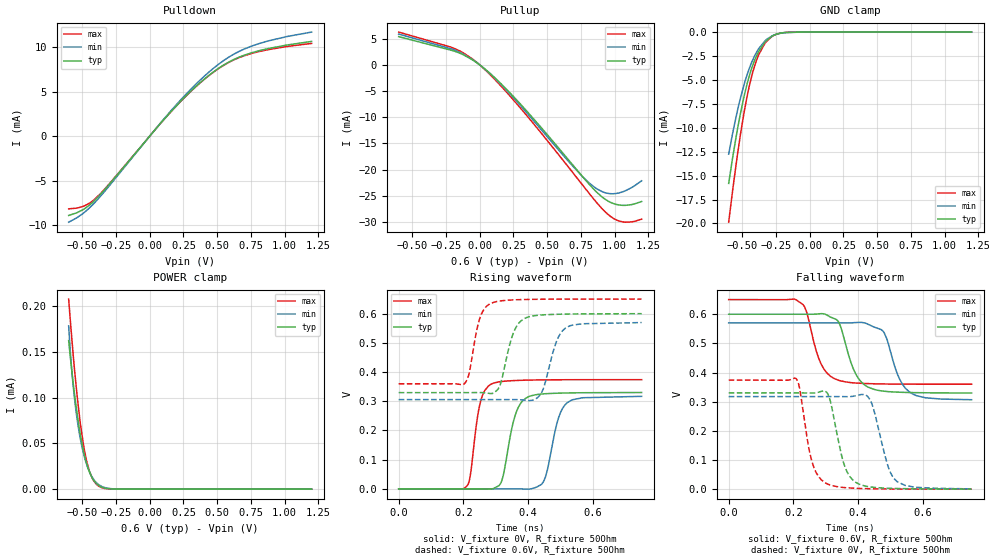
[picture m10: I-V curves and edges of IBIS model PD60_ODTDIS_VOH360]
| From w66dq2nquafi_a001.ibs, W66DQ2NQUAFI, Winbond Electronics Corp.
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[Model]   PD60_ODTDIS_VOH360
Model_type   I/O
Polarity   Non-Inverting
Enable   Active-Low
Vinl = 0.11
Vinh = 0.25
Vmeas = 0.18
Vref = 0
Cref = 0pF
|   typ   min   max
C_comp   1.15pF   1.05pF   1.25pF
[Voltage Range]   0.6   0.57   0.65
[Temperature Range]   25   95   -40
[Pullup Reference]   0.6   0.57   0.65
[Pulldown Reference]   0   0   0
[Power Clamp Reference]   0.6   0.57   0.65
[GND Clamp Reference]   0   0   0
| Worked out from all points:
|   slope of the pulldown table from 0 to 0.09 V, typ, clamps not added: 56.1 ohm
|   slope of the pullup table from 0 to 0.09 V, typ, clamps not added: 46.4 ohm
|   GND clamp passes 1 mA (typ) near -0.33 V on its own axis
|   falling waveform, V_fixture 0.6V, R_fixture 50Ohm: 20-80 % time 49.4ps typ, 49.3ps min, 46.6ps max; typ from 0.6 V to 0.33 V
|   rising waveform, V_fixture 0V, R_fixture 50Ohm: 20-80 % time 37.1ps typ, 38.2ps min, 28.2ps max; typ from 0 V to 0.33 V
|   rising waveform, V_fixture 0.6V, R_fixture 50Ohm: 20-80 % time 38.5ps typ, 40.9ps min, 31.6ps max; typ from 0.33 V to 0.6 V
|   falling waveform, V_fixture 0V, R_fixture 50Ohm: 20-80 % time 41.6ps typ, 44.5ps min, 37.4ps max; typ from 0.33 V to 0 V
[Pulldown]
|   Voltage   I(typ)   I(min)   I(max)
-600mV    -8.908mA   -9.665mA   -8.165mA
-486.9mV  -8.193mA   -8.6mA     -7.854mA
-446.6mV  -7.755mA   -8.067mA   -7.537mA
-399.9mV  -7.11mA    -7.352mA   -6.988mA
-300.6mV  -5.439mA   -5.607mA   -5.385mA
160.5mV   2.803mA    2.903mA    2.797mA
332.7mV   5.45mA     5.699mA    5.432mA
502.4mV   7.547mA    7.991mA    7.516mA
623.8mV   8.62mA     9.222mA    8.578mA
760.2mV   9.397mA    10.15mA    9.319mA
1.012V    10.23mA    11.18mA    10.07mA
1.2V      10.65mA    11.7mA     10.43mA
[GND Clamp]
|   Voltage   I(typ)   I(min)   I(max)
-600mV    -15.82mA   -12.76mA   -19.87mA
-566.8mV  -12.8mA    -10.32mA   -16.14mA
-537.6mV  -10.38mA   -8.381mA   -13.08mA
-513.5mV  -8.561mA   -6.943mA   -10.78mA
-486.6mV  -6.755mA   -5.522mA   -8.452mA
-447.2mV  -4.583mA   -3.809mA   -5.635mA
-423.6mV  -3.543mA   -2.975mA   -4.286mA
-378.3mV  -2.053mA   -1.738mA   -2.384mA
-331.6mV  -1.054mA   -934.4uA   -1.177mA
-278.2mV  -431.6uA   -397.6uA   -442.5uA
-172.5mV  -38.48uA   -45.26uA   -27.95uA
1.2V      0A         0A         0A
[Pullup]
|   Voltage   I(typ)   I(min)   I(max)
-600mV    5.379mA    5.87mA     6.249mA
-187.9mV  2.612mA    2.829mA    3.127mA
-120.6mV  1.917mA    2.04mA     2.271mA
-9.15mV   171.2uA    182.7uA    204.4uA
119.9mV   -2.654mA   -2.763mA   -3.005mA
277.2mV   -6.803mA   -7.057mA   -7.512mA
754.9mV   -21.12mA   -21.16mA   -22.71mA
871.7mV   -24.44mA   -23.74mA   -26.46mA
952.8mV   -26.05mA   -24.57mA   -28.62mA
1.027V    -26.75mA   -24.51mA   -29.78mA
1.123V    -26.72mA   -23.49mA   -30.01mA
1.2V      -26.11mA   -22.16mA   -29.49mA
[POWER Clamp]
|   Voltage   I(typ)   I(min)   I(max)
-600mV    162.4uA    178.3uA    207.7uA
-588.9mV  146.2uA    152.8uA    186.6uA
-577.2mV  129.9uA    130.1uA    165.1uA
-557.8mV  105.3uA    100.4uA    132.6uA
-531.6mV  76.38uA    70.56uA    94.42uA
-514.2mV  60.13uA    55.48uA    72.37uA
-486.9mV  39.47uA    37.23uA    45.28uA
-446.6mV  19.02uA    19.27uA    19.77uA
-423.2mV  11.73uA    12.57uA    11.33uA
-379mV    4.204uA    4.975uA    3.38uA
-248.3mV  62.4nA     168.9nA    0A
1.2V      0A         0A         0A
[Ramp]
R_load = 50
|   typ   min   max
dV/dt_r 1.9798E-01/3.6909E-11   1.9011E-01/3.8165E-11   2.2434E-01/2.8200E-11
dV/dt_f 1.6214E-01/4.9384E-11   1.5799E-01/4.9201E-11   1.7410E-01/4.6618E-11
[Falling Waveform]
V_fixture = 0.6V
V_fixture_min = 0.57V
V_fixture_max = 0.65V
R_fixture = 50Ohm
C_fixture = 0F
|   Time   V(typ)   V(min)   V(max)
0s        600mV      570mV      650mV
229ps     600mV      570mV      633.3mV
285ps     601.8mV    570mV      430.2mV
331ps     582.6mV    570mV      377mV
384ps     414.9mV    570.7mV    364.7mV
421ps     356.4mV    569.8mV    362.3mV
478ps     336.2mV    539.9mV    360.8mV
520ps     332.8mV    397.2mV    360.3mV
556ps     331.5mV    335.1mV    360.1mV
750ps     329.8mV    306.7mV    359.8mV
[Rising Waveform]
V_fixture = 0V
V_fixture_min = 0V
V_fixture_max = 0V
R_fixture = 50Ohm
C_fixture = 0F
|   Time   V(typ)   V(min)   V(max)
0s        5.397uV    17.78uV    1.065uV
211ps     3.899uV    17.78uV    9.963mV
251ps     44.58uV    17.89uV    291.1mV
286ps     -507.6uV   16.9uV     359mV
318ps     26.79mV    19.77uV    367.7mV
354ps     229.7mV    57.66uV    370.7mV
391ps     309.4mV    -621.1uV   372.2mV
447ps     325.3mV    24.42mV    373.2mV
520ps     328.4mV    294.9mV    373.7mV
750ps     330mV      316.9mV    373.9mV
[Rising Waveform]
V_fixture = 0.6V
V_fixture_min = 0.57V
V_fixture_max = 0.65V
R_fixture = 50Ohm
C_fixture = 0F
|   Time   V(typ)   V(min)   V(max)
0s        329.6mV    305.6mV    359.8mV
202ps     329.6mV    305.6mV    359.2mV
251ps     329.8mV    305.6mV    586mV
294ps     328.6mV    305.6mV    639.2mV
314ps     358.4mV    305.6mV    643.6mV
354ps     533.5mV    305.7mV    647.2mV
391ps     584.8mV    303.5mV    648.6mV
442ps     595.6mV    331.4mV    649.4mV
514ps     598.5mV    549.8mV    649.8mV
750ps     599.9mV    569.5mV    650mV
[Falling Waveform]
|Gnd
V_fixture = 0V
V_fixture_min = 0V
V_fixture_max = 0V
R_fixture = 50Ohm
C_fixture = 0F
|   Time   V(typ)   V(min)   V(max)
0s        330mV      317.5mV    373.9mV
208ps     330mV      317.5mV    379.5mV
256ps     329.7mV    317.5mV    99.07mV
303ps     331.7mV    317.5mV    18.73mV
354ps     93.06mV    317.3mV    5.844mV
392ps     23.67mV    320.2mV    3.008mV
436ps     7.897mV    307.5mV    1.532mV
493ps     3.18mV     74.99mV    597.6uV
520ps     2.248mV    26.03mV    385.3uV
750ps     114.2uV    959.8uV    -15.44uV
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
